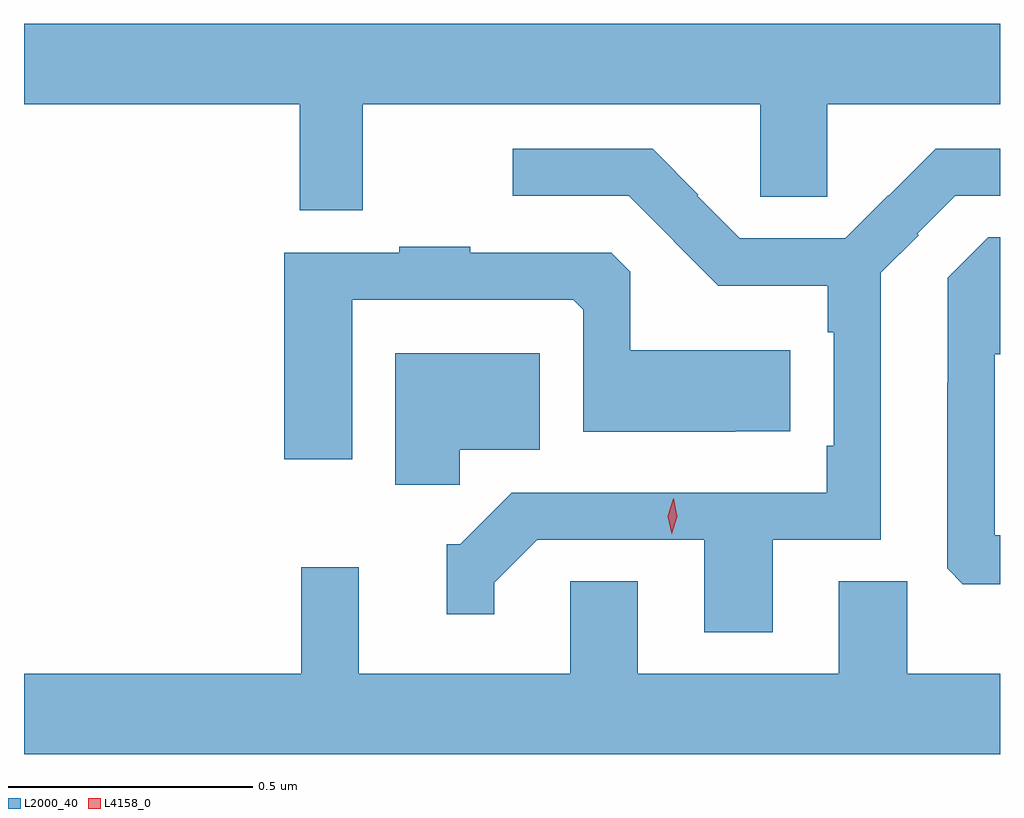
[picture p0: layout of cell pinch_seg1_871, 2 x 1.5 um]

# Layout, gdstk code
import gdstk
lib = gdstk.Library(unit=1e-6, precision=1e-09)
def P(c, l, *ps):  # polygons
    for p in ps: c.add(gdstk.Polygon(p, *l))
L2000_40 = (2000, 40)
L4158_0 = (4158, 0)

pinch_seg1_871 = lib.new_cell('pinch_seg1_871')
P(pinch_seg1_871, L2000_40, [(431.433,519.764),(431.998,519.764),(431.998,519.546),(432.127,519.546),(432.127,519.764),(432.942,519.764),(432.942,519.574),(433.079,519.574),(433.079,519.764),(433.433,519.764),(433.433,519.928),(431.433,519.928)],
  [(432.967,518.871),(433.189,518.871),(433.189,519.418),(433.266,519.495),(433.263,519.498),(433.341,519.576),(433.433,519.576),(433.433,519.672),(433.301,519.672),(433.205,519.576),(433.204,519.577),(433.116,519.489),(432.9,519.489),(432.813,519.576),(432.815,519.578),(432.721,519.672),(432.435,519.672),(432.435,519.576),(432.672,519.576),(432.856,519.392),(433.08,519.392),(433.08,519.296),(433.092,519.296),(433.092,519.064),(433.078,519.064),(433.078,518.967),(432.432,518.967),(432.327,518.862),(432.299,518.862),(432.299,518.718),(432.397,518.718),(432.397,518.783),(432.485,518.871),(432.827,518.871),(432.827,518.682),(432.967,518.682)],
  [(433.433,518.88),(433.422,518.88),(433.422,519.251),(433.433,519.251),(433.433,519.491),(433.409,519.491),(433.326,519.408),(433.326,519.193),(433.325,519.193),(433.325,518.813),(433.357,518.78),(433.433,518.78)],
  [(432.106,519.363),(432.558,519.363),(432.579,519.342),(432.579,519.092),(432.89,519.092),(432.89,519.093),(433.003,519.093),(433.003,519.259),(432.675,519.259),(432.675,519.42),(432.636,519.459),(432.347,519.459),(432.347,519.472),(432.202,519.472),(432.202,519.459),(431.966,519.459),(431.966,519.036),(432.106,519.036)],
  [(432.326,519.056),(432.49,519.056),(432.49,519.253),(432.194,519.253),(432.194,518.984),(432.326,518.984)],
  [(433.433,518.596),(433.243,518.596),(433.243,518.786),(433.103,518.786),(433.103,518.596),(432.691,518.596),(432.691,518.786),(432.552,518.786),(432.552,518.596),(432.119,518.596),(432.119,518.815),(432.001,518.815),(432.001,518.596),(431.433,518.596),(431.433,518.432),(433.433,518.432)])
P(pinch_seg1_871, L4158_0, [(432.76,518.882),(432.76,518.883),(432.752,518.919),(432.763,518.955),(432.764,518.955),(432.764,518.955),(432.772,518.918),(432.76,518.883)])

lib.write_gds('pinch_seg1_871.gds')
